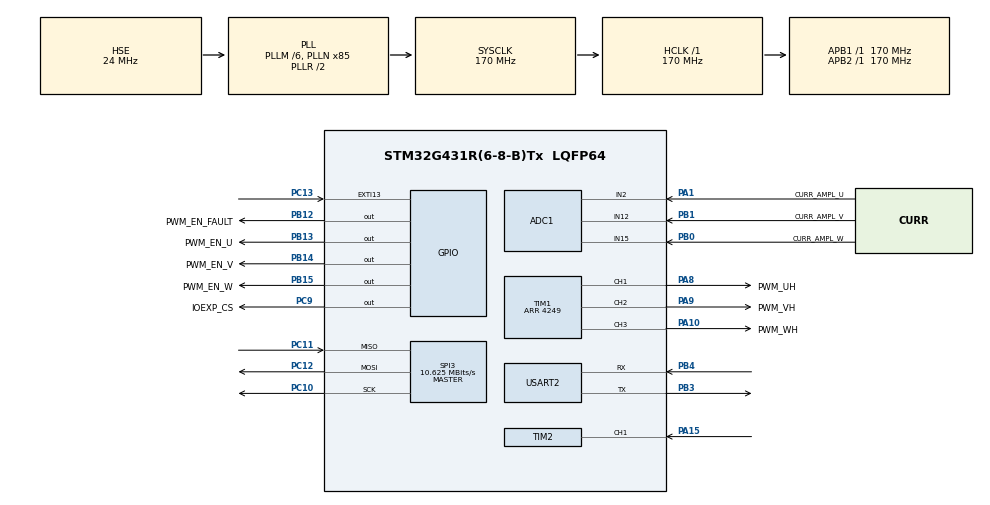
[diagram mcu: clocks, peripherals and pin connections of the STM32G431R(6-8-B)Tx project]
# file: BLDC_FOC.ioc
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ADC1.Channel-0\#ChannelRegularConversion=ADC_CHANNEL_12
ADC1.ClockPrescaler=ADC_CLOCK_ASYNC_DIV4
ADC1.DataAlign=ADC_DATAALIGN_LEFT
ADC1.EnableInjectedConversion=ENABLE
ADC1.ExternalTrigInjecConv=ADC_EXTERNALTRIGINJEC_T1_TRGO
ADC1.InjNumberOfConversion=3
ADC1.InjectedChannel-3\#ChannelInjectedConversion=ADC_CHANNEL_2
ADC1.InjectedChannel-4\#ChannelInjectedConversion=ADC_CHANNEL_2
ADC1.InjectedChannel-5\#ChannelInjectedConversion=ADC_CHANNEL_2
ADC1.InjectedOffsetNumber-3\#ChannelInjectedConversion=ADC_OFFSET_NONE
ADC1.InjectedOffsetNumber-4\#ChannelInjectedConversion=ADC_OFFSET_NONE
ADC1.InjectedOffsetNumber-5\#ChannelInjectedConversion=ADC_OFFSET_NONE
ADC1.InjectedRank-3\#ChannelInjectedConversion=1
ADC1.InjectedRank-4\#ChannelInjectedConversion=2
ADC1.InjectedRank-5\#ChannelInjectedConversion=3
ADC1.InjectedSamplingTime-3\#ChannelInjectedConversion=ADC_SAMPLETIME_6CYCLES_5
ADC1.InjectedSamplingTime-4\#ChannelInjectedConversion=ADC_SAMPLETIME_6CYCLES_5
ADC1.InjectedSamplingTime-5\#ChannelInjectedConversion=ADC_SAMPLETIME_6CYCLES_5
ADC1.NbrOfConversion=1
ADC1.NbrOfConversionFlag=1
ADC1.OffsetNumber-0\#ChannelRegularConversion=ADC_OFFSET_NONE
ADC1.Rank-0\#ChannelRegularConversion=1
ADC1.Rank1_Channel=ADC_CHANNEL_2
ADC1.Rank2_Channel=ADC_CHANNEL_2
ADC1.Rank3_Channel=ADC_CHANNEL_2
ADC1.SamplingTime-0\#ChannelRegularConversion=ADC_SAMPLETIME_2CYCLES_5
ADC1.master=1
Mcu.Family=STM32G4
Mcu.Name=STM32G431R(6-8-B)Tx
Mcu.Package=LQFP64
NUCLEO-G431RB.BUTTON=1
NUCLEO-G431RB.LD1=true
NUCLEO-G431RB.VCP=true
NVIC.ADC1_2_IRQn=true\:0\:0\:false\:false\:true\:true\:true\:true
NVIC.EXTI15_10_IRQn=true\:0\:0\:false\:false\:true\:false\:true\:true
NVIC.PriorityGroup=NVIC_PRIORITYGROUP_4
NVIC.SPI3_IRQn=true\:0\:0\:false\:false\:true\:true\:true\:true
NVIC.TIM1_BRK_TIM15_IRQn=true\:0\:0\:false\:false\:true\:true\:true\:true
NVIC.TIM1_UP_TIM16_IRQn=true\:0\:0\:false\:false\:true\:true\:true\:true
NVIC.TIM2_IRQn=true\:0\:0\:false\:false\:true\:true\:true\:true
PA1.GPIO_Label=CURR_AMPL_U
PA1.Mode=IN2-Single-Ended
PA1.Signal=ADC1_IN2
PA10.GPIO_Label=PWM_WH
PA10.Signal=S_TIM1_CH3
PA13.Mode=Serial_Wire
PA13.Signal=SYS_JTMS-SWDIO
PA14.Mode=Serial_Wire
PA14.Signal=SYS_JTCK-SWCLK
PA15.Signal=S_TIM2_CH1
PA8.GPIO_Label=PWM_UH
PA8.Signal=S_TIM1_CH1
PA9.GPIO_Label=PWM_VH
PA9.Signal=S_TIM1_CH2
PB0.GPIO_Label=CURR_AMPL_W
PB0.Mode=IN15-Single-Ended
PB0.Signal=ADC1_IN15
PB1.GPIO_Label=CURR_AMPL_V
PB1.Mode=IN12-Single-Ended
PB1.Signal=ADC1_IN12
PB12.GPIO_Label=PWM_EN_FAULT
PB12.GPIO_PuPd=GPIO_NOPULL
PB12.PinState=GPIO_PIN_SET
PB12.Signal=GPIO_Output
PB13.GPIO_Label=PWM_EN_U
PB13.GPIO_PuPd=GPIO_NOPULL
PB13.GPIO_Speed=GPIO_SPEED_FREQ_HIGH
PB13.PinState=GPIO_PIN_SET
PB13.Signal=GPIO_Output
PB14.GPIO_Label=PWM_EN_V
PB14.GPIO_PuPd=GPIO_NOPULL
PB14.GPIO_Speed=GPIO_SPEED_FREQ_HIGH
PB14.PinState=GPIO_PIN_SET
PB14.Signal=GPIO_Output
PB15.GPIO_Label=PWM_EN_W
PB15.GPIO_PuPd=GPIO_NOPULL
PB15.GPIO_Speed=GPIO_SPEED_FREQ_HIGH
PB15.PinState=GPIO_PIN_SET
PB15.Signal=GPIO_Output
PB3.Mode=Asynchronous
PB3.Signal=USART2_TX
PB4.Mode=Asynchronous
PB4.Signal=USART2_RX
PC10.Mode=Full_Duplex_Master
PC10.Signal=SPI3_SCK
PC11.Mode=Full_Duplex_Master
PC11.Signal=SPI3_MISO
PC12.Mode=Full_Duplex_Master
PC12.Signal=SPI3_MOSI
PC13.Signal=GPXTI13
PC9.GPIO_Label=IOEXP_CS
PC9.PinState=GPIO_PIN_SET
PC9.Signal=GPIO_Output
PF0-OSC_IN.GPIO_Label=RCC_OSC_IN
PF0-OSC_IN.Mode=HSE-External-Oscillator
PF0-OSC_IN.Signal=RCC_OSC_IN
PF1-OSC_OUT.GPIO_Label=RCC_OSC_OUT
PF1-OSC_OUT.Mode=HSE-External-Oscillator
PF1-OSC_OUT.Signal=RCC_OSC_OUT
ProjectManager.HeapSize=0x200
ProjectManager.StackSize=0x400
ProjectManager.TargetToolchain=STM32CubeIDE
RCC.ADC12Freq_Value=170000000
RCC.AHBFreq_Value=170000000
RCC.APB1Freq_Value=170000000
RCC.APB1TimFreq_Value=170000000
RCC.APB2Freq_Value=170000000
RCC.APB2TimFreq_Value=170000000
RCC.CortexFreq_Value=170000000
RCC.EXTERNAL_CLOCK_VALUE=12288000
RCC.HCLKFreq_Value=170000000
RCC.HSE_VALUE=24000000
RCC.HSI48_VALUE=48000000
RCC.HSI_VALUE=16000000
RCC.LSE_VALUE=32768
RCC.PLLM=RCC_PLLM_DIV6
RCC.PLLN=85
RCC.PLLSourceVirtual=RCC_PLLSOURCE_HSE
RCC.RTCClockSelection=RCC_RTCCLKSOURCE_LSE
RCC.SYSCLKFreq_VALUE=170000000
RCC.SYSCLKSource=RCC_SYSCLKSOURCE_PLLCLK
RCC.USBFreq_Value=170000000
RCC.VCOOutputFreq_Value=340000000
SH.S_TIM1_CH1.0=TIM1_CH1,PWM Generation1 CH1
SH.S_TIM1_CH2.0=TIM1_CH2,PWM Generation2 CH2
SH.S_TIM1_CH3.0=TIM1_CH3,PWM Generation3 CH3
SH.S_TIM2_CH1.0=TIM2_CH1,Input_Capture1_from_TI1
SPI3.BaudRatePrescaler=SPI_BAUDRATEPRESCALER_16
SPI3.CLKPhase=SPI_PHASE_2EDGE
SPI3.CLKPolarity=SPI_POLARITY_LOW
SPI3.CalculateBaudRate=10.625 MBits/s
SPI3.DataSize=SPI_DATASIZE_8BIT
SPI3.Direction=SPI_DIRECTION_2LINES
SPI3.Mode=SPI_MODE_MASTER
SPI3.VirtualType=VM_MASTER
TIM1.Channel-Output\ Compare4\ No\ Output=TIM_CHANNEL_4
TIM1.Channel-PWM\ Generation1\ CH1=TIM_CHANNEL_1
TIM1.Channel-PWM\ Generation2\ CH2=TIM_CHANNEL_2
TIM1.Channel-PWM\ Generation3\ CH3=TIM_CHANNEL_3
TIM1.CounterMode=TIM_COUNTERMODE_CENTERALIGNED1
TIM1.PeriodNoDither=4249
TIM1.TIM_MasterOutputTrigger=TIM_TRGO_UPDATE
TIM2.Channel-Input_Capture1_from_TI1=TIM_CHANNEL_1
USART2.VirtualMode-Asynchronous=VM_ASYNC
VP_NUCLEO-G431RB_VS_BSP_COMMON.Mode=COMMON
VP_SYS_VS_DBSignals.Mode=DisableDeadBatterySignals
VP_TIM1_VS_no_output4.Mode=Output Compare4 No Output
board=NUCLEO-G431RB

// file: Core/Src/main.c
/* USER CODE BEGIN Header */
/**
  ******************************************************************************
  * @file           : main.c
  * @brief          : Main program body
  ******************************************************************************
  * @attention
  *
  * Copyright (c) 2025 STMicroelectronics.
  * All rights reserved.
  *
  * This software is licensed under terms that can be found in the LICENSE file
  * in the root directory of this software component.
  * If no LICENSE file comes with this software, it is provided AS-IS.
  *
  ******************************************************************************
  */
/* USER CODE END Header */
#include "main.h"
#include "adc.h"
#include "spi.h"
#include "tim.h"
#include "usart.h"
#include "gpio.h"

/* USER CODE BEGIN Includes */
#include <stdio.h>
#include "svpwm.h"
#include "math.h"
#include "encoder.h"
#include "current_sense.h"
#include "simple_drive.h"
/* USER CODE END Includes */

/* USER CODE BEGIN PD */
#define FREQ_HZ    50.0f      // Częstotliwość sygnału
#define SAMPLING_HZ 10000.0f  // Częstotliwość pętli głównej (lub aktualizacji)
#define TWO_PI     6.28318530718f
/* USER CODE END PD */

COM_InitTypeDef BspCOMInit;

/* USER CODE BEGIN PV */
uint16_t adc_raw[3]; // A, B, (C optional)
float Valpha, Vbeta;

float t = 0.0f;
float dt = 1.0f / SAMPLING_HZ;

abc_current_t currents;
abc_raw_t raw_currents;
uint32_t lastPrint = 0;
/* USER CODE END PV */

void SystemClock_Config(void);

int main(void)
{

  /* USER CODE BEGIN 1 */

	SimpleDrive_Init(2.0f);  // 2 Hz sinusoida

  /* USER CODE END 1 */

  /* MCU Configuration--------------------------------------------------------*/

  /* Reset of all peripherals, Initializes the Flash interface and the Systick. */
  HAL_Init();

  /* Configure the system clock */
  SystemClock_Config();

  /* Initialize all configured peripherals */
  MX_GPIO_Init();
  MX_TIM1_Init();
  MX_USART2_UART_Init();
  MX_TIM2_Init();
  MX_ADC1_Init();
  MX_SPI3_Init();
  /* USER CODE BEGIN 2 */
//  HAL_ADC_Start_DMA(&hadc2, (uint32_t*)adc_raw, 3);
  HAL_TIM_PWM_Start(&htim1, TIM_CHANNEL_1);
  HAL_TIM_PWM_Start(&htim1, TIM_CHANNEL_2);
  HAL_TIM_PWM_Start(&htim1, TIM_CHANNEL_3);

//  CurrentSense_Init(&hadc1);
  FOC_Init(&hadc1);
  /* USER CODE END 2 */

  /* Initialize leds */
  BSP_LED_Init(LED_GREEN);

  /* Initialize USER push-button, will be used to trigger an interrupt each time it's pressed.*/
  BSP_PB_Init(BUTTON_USER, BUTTON_MODE_EXTI);

  /* Initialize COM1 port (115200, 8 bits (7-bit data + 1 stop bit), no parity */
  BspCOMInit.BaudRate   = 115200;
  BspCOMInit.WordLength = COM_WORDLENGTH_8B;
  BspCOMInit.StopBits   = COM_STOPBITS_1;
  BspCOMInit.Parity     = COM_PARITY_NONE;
  BspCOMInit.HwFlowCtl  = COM_HWCONTROL_NONE;
  if (BSP_COM_Init(COM1, &BspCOMInit) != BSP_ERROR_NONE)
  {
    Error_Handler();
  }

  /* Infinite loop */
  /* USER CODE BEGIN WHILE */
  while (1)
  {
//	  // Symulacja poimiarów napięc fazowych
//	  float Va = 24.0f * sinf(TWO_PI * FREQ_HZ * t);
//	  float Vb = 24.0f * sinf(TWO_PI * FREQ_HZ * t - 2.094f); // -120 stopni
//
//	  // Clarke transformacja
//	  Valpha = Va;
//	  Vbeta  = (Va + 2.0f * Vb) / 1.73205080757f;
//
//	  // Debug
//	  printf("Valpha: %7.3f | Vbeta: %7.3f\r\n", Valpha, Vbeta);
//
//	  // SVPWM update
//	  SVPWM_Update(Valpha, Vbeta);
//
//	  // Czas i opóźnienie
//	  t += dt;
//	  HAL_Delay(1);
//

//	  float angle = Encoder_GetAngle();
//	  printf("Angle: %.2f\r\n", angle);

	SimpleDrive_Run(&htim1);

	// co 100 ms wypisz prądy
	if (HAL_GetTick() - lastPrint >= 1000)
	{
	  CurrentSense_Read(&currents);

	  CurrentSense_GetRaw(&raw_currents);

	  printf("Ia: %.3f A, Ib: %.3f A, Ic: %.3f A\r\n",
			 currents.a, currents.b, currents.c);

	  printf("Ia_raw: %u, Ib_raw: %u, Ic_raw: %u\r\n",
			 raw_currents.a, raw_currents.b, raw_currents.c);

	  lastPrint = HAL_GetTick();
	}

    /* USER CODE END WHILE */

  }
}

void SystemClock_Config(void)
{
  RCC_OscInitTypeDef RCC_OscInitStruct = {0};
  RCC_ClkInitTypeDef RCC_ClkInitStruct = {0};

  /** Configure the main internal regulator output voltage
  */
  HAL_PWREx_ControlVoltageScaling(PWR_REGULATOR_VOLTAGE_SCALE1_BOOST);

  /** Initializes the RCC Oscillators according to the specified parameters
  * in the RCC_OscInitTypeDef structure.
  */
  RCC_OscInitStruct.OscillatorType = RCC_OSCILLATORTYPE_HSE;
  RCC_OscInitStruct.HSEState = RCC_HSE_ON;
  RCC_OscInitStruct.PLL.PLLState = RCC_PLL_ON;
  RCC_OscInitStruct.PLL.PLLSource = RCC_PLLSOURCE_HSE;
  RCC_OscInitStruct.PLL.PLLM = RCC_PLLM_DIV6;
  RCC_OscInitStruct.PLL.PLLN = 85;
  RCC_OscInitStruct.PLL.PLLP = RCC_PLLP_DIV2;
  RCC_OscInitStruct.PLL.PLLQ = RCC_PLLQ_DIV2;
  RCC_OscInitStruct.PLL.PLLR = RCC_PLLR_DIV2;
  if (HAL_RCC_OscConfig(&RCC_OscInitStruct) != HAL_OK)
  {
    Error_Handler();
  }

  /** Initializes the CPU, AHB and APB buses clocks
  */
  RCC_ClkInitStruct.ClockType = RCC_CLOCKTYPE_HCLK|RCC_CLOCKTYPE_SYSCLK
                              |RCC_CLOCKTYPE_PCLK1|RCC_CLOCKTYPE_PCLK2;
  RCC_ClkInitStruct.SYSCLKSource = RCC_SYSCLKSOURCE_PLLCLK;
  RCC_ClkInitStruct.AHBCLKDivider = RCC_SYSCLK_DIV1;
  RCC_ClkInitStruct.APB1CLKDivider = RCC_HCLK_DIV1;
  RCC_ClkInitStruct.APB2CLKDivider = RCC_HCLK_DIV1;

  if (HAL_RCC_ClockConfig(&RCC_ClkInitStruct, FLASH_LATENCY_4) != HAL_OK)
  {
    Error_Handler();
  }
}

/* USER CODE BEGIN 4 */
void HAL_TIM_IC_CaptureCallback(TIM_HandleTypeDef *htim)
{
    Encoder_ProcessCapture(htim);
}

/* USER CODE END 4 */

void Error_Handler(void)
{
  __disable_irq();
  while (1)
  {
  }
}
